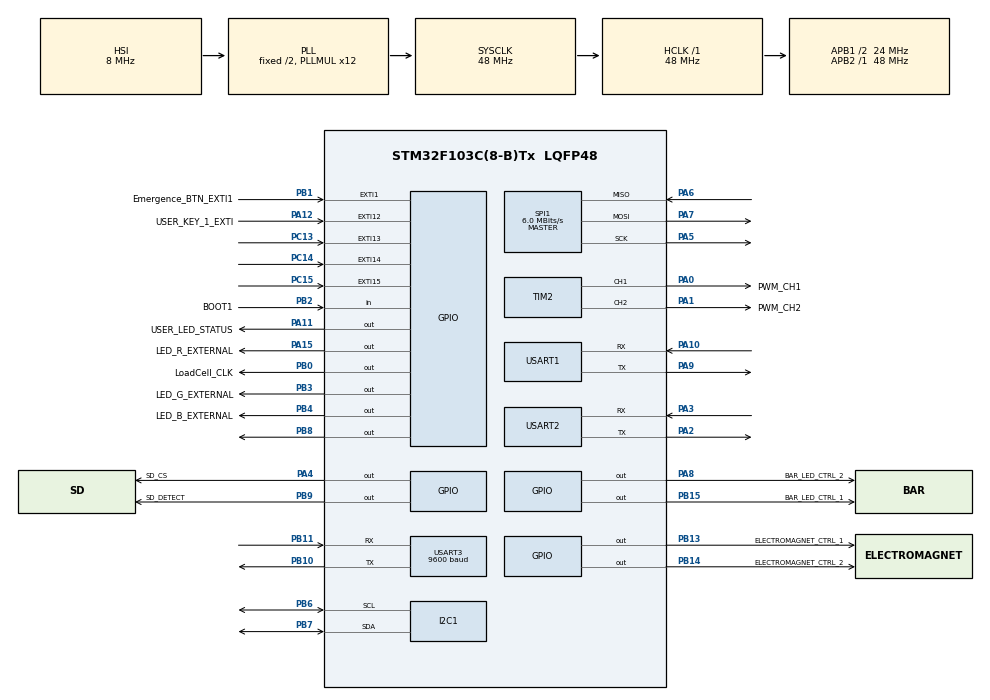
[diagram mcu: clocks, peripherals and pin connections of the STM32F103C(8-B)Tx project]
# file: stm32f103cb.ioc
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Mcu.Family=STM32F1
Mcu.Name=STM32F103C(8-B)Tx
Mcu.Package=LQFP48
NVIC.EXTI15_10_IRQn=true\:0\:0\:false\:true\:true\:5\:true
NVIC.EXTI1_IRQn=true\:0\:0\:false\:true\:true\:1\:true
NVIC.PriorityGroup=NVIC_PRIORITYGROUP_4
NVIC.TIM2_IRQn=true\:0\:0\:false\:true\:true\:2\:true
NVIC.USART1_IRQn=true\:0\:0\:false\:true\:true\:6\:true
NVIC.USART2_IRQn=true\:0\:0\:false\:true\:true\:3\:true
NVIC.USART3_IRQn=true\:0\:0\:false\:true\:true\:4\:true
PA0-WKUP.GPIO_Label=PWM_CH1
PA0-WKUP.Signal=S_TIM2_CH1_ETR
PA1.GPIO_Label=PWM_CH2
PA1.Signal=S_TIM2_CH2
PA10.Mode=Asynchronous
PA10.Signal=USART1_RX
PA11.GPIO_Label=USER_LED_STATUS
PA11.Signal=GPIO_Output
PA12.GPIO_Label=USER_KEY_1_EXTI
PA12.Signal=GPXTI12
PA13.Mode=Serial_Wire
PA13.Signal=SYS_JTMS-SWDIO
PA14.Mode=Serial_Wire
PA14.Signal=SYS_JTCK-SWCLK
PA15.GPIO_Label=LED_R_EXTERNAL
PA15.Signal=GPIO_Output
PA2.Mode=Asynchronous
PA2.Signal=USART2_TX
PA3.Mode=Asynchronous
PA3.Signal=USART2_RX
PA4.GPIO_Label=SD_CS
PA4.Signal=GPIO_Output
PA5.Mode=Full_Duplex_Master
PA5.Signal=SPI1_SCK
PA6.Mode=Full_Duplex_Master
PA6.Signal=SPI1_MISO
PA7.Mode=Full_Duplex_Master
PA7.Signal=SPI1_MOSI
PA8.GPIO_Label=BAR_LED_CTRL_2
PA8.GPIO_PuPd=GPIO_NOPULL
PA8.GPIO_Speed=GPIO_SPEED_FREQ_MEDIUM
PA8.PinState=GPIO_PIN_SET
PA8.Signal=GPIO_Output
PA9.Mode=Asynchronous
PA9.Signal=USART1_TX
PB0.GPIO_Label=LoadCell_CLK
PB0.Signal=GPIO_Output
PB1.GPIO_Label=Emergence_BTN_EXTI1
PB1.Signal=GPXTI1
PB10.Mode=Asynchronous
PB10.Signal=USART3_TX
PB11.Mode=Asynchronous
PB11.Signal=USART3_RX
PB13.GPIO_Label=ELECTROMAGNET_CTRL_1
PB13.Signal=GPIO_Output
PB14.GPIO_Label=ELECTROMAGNET_CTRL_2
PB14.Signal=GPIO_Output
PB15.GPIO_Label=BAR_LED_CTRL_1
PB15.Signal=GPIO_Output
PB2.GPIO_Label=BOOT1
PB2.Signal=GPIO_Input
PB3.GPIO_Label=LED_G_EXTERNAL
PB3.Signal=GPIO_Output
PB4.GPIO_Label=LED_B_EXTERNAL
PB4.Signal=GPIO_Output
PB6.Mode=I2C
PB6.Signal=I2C1_SCL
PB7.Mode=I2C
PB7.Signal=I2C1_SDA
PB8.Signal=GPIO_Output
PB9.GPIO_Label=SD_DETECT
PB9.GPIO_Speed=GPIO_SPEED_FREQ_MEDIUM
PB9.PinState=GPIO_PIN_SET
PB9.Signal=GPIO_Output
PC13-TAMPER-RTC.GPIO_PuPd=GPIO_NOPULL
PC13-TAMPER-RTC.Signal=GPXTI13
PC14-OSC32_IN.Signal=GPXTI14
PC15-OSC32_OUT.Signal=GPXTI15
PD0-OSC_IN.Mode=HSE-External-Oscillator
PD0-OSC_IN.Signal=RCC_OSC_IN
PD1-OSC_OUT.Mode=HSE-External-Oscillator
PD1-OSC_OUT.Signal=RCC_OSC_OUT
ProjectManager.HeapSize=0x200
ProjectManager.StackSize=0x400
ProjectManager.TargetToolchain=SW4STM32
RCC.AHBFreq_Value=48000000
RCC.APB1CLKDivider=RCC_HCLK_DIV2
RCC.APB1Freq_Value=24000000
RCC.APB1TimFreq_Value=48000000
RCC.APB2Freq_Value=48000000
RCC.APB2TimFreq_Value=48000000
RCC.HCLKFreq_Value=48000000
RCC.PLLMUL=RCC_PLL_MUL12
RCC.SYSCLKFreq_VALUE=48000000
RCC.SYSCLKSource=RCC_SYSCLKSOURCE_PLLCLK
RCC.USBFreq_Value=48000000
SH.S_TIM2_CH1_ETR.0=TIM2_CH1,PWM Generation1 CH1
SH.S_TIM2_CH2.0=TIM2_CH2,PWM Generation2 CH2
SPI1.BaudRatePrescaler=SPI_BAUDRATEPRESCALER_8
SPI1.CalculateBaudRate=6.0 MBits/s
SPI1.DataSize=SPI_DATASIZE_8BIT
SPI1.Direction=SPI_DIRECTION_2LINES
SPI1.Mode=SPI_MODE_MASTER
SPI1.VirtualType=VM_MASTER
TIM2.Channel-PWM\ Generation1\ CH1=TIM_CHANNEL_1
TIM2.Channel-PWM\ Generation2\ CH2=TIM_CHANNEL_2
USART1.VirtualMode=VM_ASYNC
USART2.VirtualMode=VM_ASYNC
USART3.BaudRate=9600
USART3.VirtualMode=VM_ASYNC
VP_FATFS_VS_Generic.Mode=User_defined
board=custom

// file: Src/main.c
/**
  ******************************************************************************
  * @file           : main.c
  * @brief          : Main program body
  ******************************************************************************
  * This notice applies to any and all portions of this file
  * that are not between comment pairs USER CODE BEGIN and
  * USER CODE END. Other portions of this file, whether
  * inserted by the user or by software development tools
  * are owned by their respective copyright owners.
  *
  * Copyright (c) 2018 STMicroelectronics International N.V.
  * All rights reserved.
  *
  * Redistribution and use in source and binary forms, with or without
  * modification, are permitted, provided that the following conditions are met:
  *
  * 1. Redistribution of source code must retain the above copyright notice,
  *    this list of conditions and the following disclaimer.
  * 2. Redistributions in binary form must reproduce the above copyright notice,
  *    this list of conditions and the following disclaimer in the documentation
  *    and/or other materials provided with the distribution.
  * 3. Neither the name of STMicroelectronics nor the names of other
  *    contributors to this software may be used to endorse or promote products
  *    derived from this software without specific written permission.
  * 4. This software, including modifications and/or derivative works of this
  *    software, must execute solely and exclusively on microcontroller or
  *    microprocessor devices manufactured by or for STMicroelectronics.
  * 5. Redistribution and use of this software other than as permitted under
  *    this license is void and will automatically terminate your rights under
  *    this license.
  *
  * THIS SOFTWARE IS PROVIDED BY STMICROELECTRONICS AND CONTRIBUTORS "AS IS"
  * AND ANY EXPRESS, IMPLIED OR STATUTORY WARRANTIES, INCLUDING, BUT NOT
  * LIMITED TO, THE IMPLIED WARRANTIES OF MERCHANTABILITY, FITNESS FOR A
  * PARTICULAR PURPOSE AND NON-INFRINGEMENT OF THIRD PARTY INTELLECTUAL PROPERTY
  * RIGHTS ARE DISCLAIMED TO THE FULLEST EXTENT PERMITTED BY LAW. IN NO EVENT
  * SHALL STMICROELECTRONICS OR CONTRIBUTORS BE LIABLE FOR ANY DIRECT, INDIRECT,
  * INCIDENTAL, SPECIAL, EXEMPLARY, OR CONSEQUENTIAL DAMAGES (INCLUDING, BUT NOT
  * LIMITED TO, PROCUREMENT OF SUBSTITUTE GOODS OR SERVICES; LOSS OF USE, DATA,
  * OR PROFITS; OR BUSINESS INTERRUPTION) HOWEVER CAUSED AND ON ANY THEORY OF
  * LIABILITY, WHETHER IN CONTRACT, STRICT LIABILITY, OR TORT (INCLUDING
  * NEGLIGENCE OR OTHERWISE) ARISING IN ANY WAY OUT OF THE USE OF THIS SOFTWARE,
  * EVEN IF ADVISED OF THE POSSIBILITY OF SUCH DAMAGE.
  *
  ******************************************************************************
  */
#include "main.h"
#include "stm32f1xx_hal.h"
#include "fatfs.h"

/* USER CODE BEGIN Includes */
#include <stdlib.h>
#include <string.h>
#include "dev/sensor/hc_06.h"
#include "dev/sensor/esp8266_dev.h"
#include "dev/serial/uart_string.h"

#define ESP8266_TEST_MODE 0
#define HC06_TEST_MODE 0
#define SPI_SD_TEST 1
/* USER CODE END Includes */

I2C_HandleTypeDef hi2c1;

SPI_HandleTypeDef hspi1;

TIM_HandleTypeDef htim2;

UART_HandleTypeDef huart1;
UART_HandleTypeDef huart2;

/* USER CODE BEGIN PV */
/* Private variables ---------------------------------------------------------*/
uint8_t rxbuf_[2];
UartstrQueue uartStrQ_;

#if SPI_SD_TEST
FATFS fs_;
FATFS *pfs_;
FIL fil_;
FRESULT fres_;
DWORD fre_clust_;
uint32_t total_, free_;
char buffer_[100];
#endif  // SPI_SD_TEST

/* USER CODE END PV */

void SystemClock_Config(void);
static void MX_GPIO_Init(void);
static void MX_I2C1_Init(void);
static void MX_TIM2_Init(void);
static void MX_USART1_UART_Init(void);
static void MX_USART2_UART_Init(void);
static void MX_USART3_UART_Init(void);
static void MX_SPI1_Init(void);
static void MX_NVIC_Init(void);

void HAL_TIM_MspPostInit(TIM_HandleTypeDef *htim);

/* USER CODE BEGIN PFP */
/* Private function prototypes -----------------------------------------------*/

/* USER CODE END PFP */

/* USER CODE BEGIN 0 */
int _write(int file, char* data, int len) {
	HAL_StatusTypeDef status =
		HAL_UART_Transmit(&huart1, (uint8_t*)data, len, 1000);
	return (status == HAL_OK ? len : 0);
}

void HAL_UART_RxCpltCallback(UART_HandleTypeDef *huart) {
	//hc06_receive_byte();
  if (huart->Instance == USART1) {
    uartstr_get_byte(&uartStrQ_, rxbuf_[0]);
    HAL_UART_Receive_IT(uartStrQ_.uart, rxbuf_, 1);
  }

}

void USART_Rx_Callback(USART_TypeDef* uart) {
#if HC06_TEST_MODE
  hc06_usart_rx_callback(uart);
#endif

#if ESP8266_TEST_MODE
  esp8266_usart_rx_callback(uart);
#endif
}
/* USER CODE END 0 */

int main(void)
{
  /* USER CODE BEGIN 1 */
  char data[128];

  /* USER CODE END 1 */

  /* MCU Configuration----------------------------------------------------------*/

  /* Reset of all peripherals, Initializes the Flash interface and the Systick. */
  HAL_Init();

  /* Configure the system clock */
  SystemClock_Config();

  /* Initialize all configured peripherals */
  MX_GPIO_Init();
  MX_I2C1_Init();
  MX_TIM2_Init();
  MX_USART1_UART_Init();
  MX_USART2_UART_Init();
  MX_USART3_UART_Init();
  MX_SPI1_Init();
  MX_FATFS_Init();

  /* Initialize interrupts */
  MX_NVIC_Init();
  /* USER CODE BEGIN 2 */
  uartStrQ_.uart = &huart1;
  uartstr_init(&uartStrQ_);
  HAL_UART_Receive_IT(uartStrQ_.uart, rxbuf_, 1);
#if ESP8266_TEST_MODE
  esp8266_init(USART3);
  esp8266_set_ssid("iptime");
  esp8266_set_pwd("");
  esp8266_print_test_menu();
#endif  // ESP8266_TEST_MODE

#if HC06_TEST_MODE
  hc06_init(USART3);
  hc06_set_bluetoothname("kdj6724", 7);
  //hc06_set_pin("1111", 4);
#endif  // HC06_TEST_MODE

#if SPI_SD_TEST
  /* Mount SD Card */
    if(f_mount(&fs_, "", 0) != FR_OK)
      _Error_Handler(__FILE__, __LINE__);

    /* Open file to write */
    if(f_open(&fil_, "first.txt", FA_OPEN_ALWAYS | FA_READ | FA_WRITE) != FR_OK)
      _Error_Handler(__FILE__, __LINE__);

    /* Check free space */
    if(f_getfree("", &fre_clust_, &pfs_) != FR_OK)
      _Error_Handler(__FILE__, __LINE__);

    total_ = (uint32_t)((pfs_->n_fatent - 2) * pfs_->csize * 0.5);
    free_ = (uint32_t)(fre_clust_ * pfs_->csize * 0.5);

    /* Free space is less than 1kb */
    if(free_ < 1)
      _Error_Handler(__FILE__, __LINE__);

    /* Writing text */
    f_puts("kdj6724 sdcard test\n", &fil_);
    f_puts("Save the world!!!\n", &fil_);
    f_puts("Save the world!!!\n", &fil_);
    f_puts("Save the world!!!\n", &fil_);
    f_puts("Save the world!!!\n", &fil_);
    f_puts("Save the world!!!\n", &fil_);
    f_puts("Save the world!!!\n", &fil_);
    f_puts("Save the world!!!\n", &fil_);
    f_puts("Save the world!!!\n", &fil_);

    /* Close file */
    if(f_close(&fil_) != FR_OK)
      _Error_Handler(__FILE__, __LINE__);

    /* Open file to read */
    if(f_open(&fil_, "first.txt", FA_READ) != FR_OK)
      _Error_Handler(__FILE__, __LINE__);

    while(f_gets(buffer_, sizeof(buffer_), &fil_))
    {
      printf("%s\r\n", buffer_);
    }

    /* Close file */
    if(f_close(&fil_) != FR_OK)
      _Error_Handler(__FILE__, __LINE__);

    /* Unmount SDCARD */
    if(f_mount(NULL, "", 1) != FR_OK)
      _Error_Handler(__FILE__, __LINE__);

#endif  // SPI_SD_TEST
  memset(data, 0, sizeof(data));
  /* USER CODE END 2 */

  /* Infinite loop */
  /* USER CODE BEGIN WHILE */

  while (1)
  {
#if ESP8266_TEST_MODE // test esp8266
    if (dequeue(&esp8266MessageQueue_, data) > 0) {
      printf("esp : %s\r\n", data);
      memset(data, 0, sizeof(data));
    }
#endif

#if HC06_TEST_MODE // test esp8266
    if (dequeue(&hc06MessageQueue_, data) > 0) {
      printf("hc06 : %s\r\n", data);
      memset(data, 0, sizeof(data));
    }
#endif

    if (uartstr_receive_string(&uartStrQ_, data, sizeof(data)) > 0) {
      printf("%s - \r\n", data);
      esp8266_select_test_menu(data[0]);
      memset(data, 0, sizeof(data));
      esp8266_print_test_menu();
    }
    HAL_Delay(500);
  /* USER CODE END WHILE */

  }

}

void SystemClock_Config(void)
{

  RCC_OscInitTypeDef RCC_OscInitStruct;
  RCC_ClkInitTypeDef RCC_ClkInitStruct;

    /**Initializes the CPU, AHB and APB busses clocks
    */
  RCC_OscInitStruct.OscillatorType = RCC_OSCILLATORTYPE_HSI;
  RCC_OscInitStruct.HSIState = RCC_HSI_ON;
  RCC_OscInitStruct.HSICalibrationValue = 16;
  RCC_OscInitStruct.PLL.PLLState = RCC_PLL_ON;
  RCC_OscInitStruct.PLL.PLLSource = RCC_PLLSOURCE_HSI_DIV2;
  RCC_OscInitStruct.PLL.PLLMUL = RCC_PLL_MUL12;
  if (HAL_RCC_OscConfig(&RCC_OscInitStruct) != HAL_OK)
  {
    _Error_Handler(__FILE__, __LINE__);
  }

    /**Initializes the CPU, AHB and APB busses clocks
    */
  RCC_ClkInitStruct.ClockType = RCC_CLOCKTYPE_HCLK|RCC_CLOCKTYPE_SYSCLK
                              |RCC_CLOCKTYPE_PCLK1|RCC_CLOCKTYPE_PCLK2;
  RCC_ClkInitStruct.SYSCLKSource = RCC_SYSCLKSOURCE_PLLCLK;
  RCC_ClkInitStruct.AHBCLKDivider = RCC_SYSCLK_DIV1;
  RCC_ClkInitStruct.APB1CLKDivider = RCC_HCLK_DIV2;
  RCC_ClkInitStruct.APB2CLKDivider = RCC_HCLK_DIV1;

  if (HAL_RCC_ClockConfig(&RCC_ClkInitStruct, FLASH_LATENCY_1) != HAL_OK)
  {
    _Error_Handler(__FILE__, __LINE__);
  }

    /**Configure the Systick interrupt time
    */
  HAL_SYSTICK_Config(HAL_RCC_GetHCLKFreq()/1000);

    /**Configure the Systick
    */
  HAL_SYSTICK_CLKSourceConfig(SYSTICK_CLKSOURCE_HCLK);

  /* SysTick_IRQn interrupt configuration */
  HAL_NVIC_SetPriority(SysTick_IRQn, 0, 0);
}

/**
  * @brief NVIC Configuration.
  * @retval None
  */
static void MX_NVIC_Init(void)
{
  /* EXTI1_IRQn interrupt configuration */
  HAL_NVIC_SetPriority(EXTI1_IRQn, 0, 0);
  HAL_NVIC_EnableIRQ(EXTI1_IRQn);
  /* TIM2_IRQn interrupt configuration */
  HAL_NVIC_SetPriority(TIM2_IRQn, 0, 0);
  HAL_NVIC_EnableIRQ(TIM2_IRQn);
  /* USART2_IRQn interrupt configuration */
  HAL_NVIC_SetPriority(USART2_IRQn, 0, 0);
  HAL_NVIC_EnableIRQ(USART2_IRQn);
  /* USART3_IRQn interrupt configuration */
  NVIC_SetPriority(USART3_IRQn, NVIC_EncodePriority(NVIC_GetPriorityGrouping(),0, 0));
  NVIC_EnableIRQ(USART3_IRQn);
  /* EXTI15_10_IRQn interrupt configuration */
  HAL_NVIC_SetPriority(EXTI15_10_IRQn, 0, 0);
  HAL_NVIC_EnableIRQ(EXTI15_10_IRQn);
  /* USART1_IRQn interrupt configuration */
  HAL_NVIC_SetPriority(USART1_IRQn, 0, 0);
  HAL_NVIC_EnableIRQ(USART1_IRQn);
}

/* I2C1 init function */
static void MX_I2C1_Init(void)
{

  hi2c1.Instance = I2C1;
  hi2c1.Init.ClockSpeed = 100000;
  hi2c1.Init.DutyCycle = I2C_DUTYCYCLE_2;
  hi2c1.Init.OwnAddress1 = 0;
  hi2c1.Init.AddressingMode = I2C_ADDRESSINGMODE_7BIT;
  hi2c1.Init.DualAddressMode = I2C_DUALADDRESS_DISABLE;
  hi2c1.Init.OwnAddress2 = 0;
  hi2c1.Init.GeneralCallMode = I2C_GENERALCALL_DISABLE;
  hi2c1.Init.NoStretchMode = I2C_NOSTRETCH_DISABLE;
  if (HAL_I2C_Init(&hi2c1) != HAL_OK)
  {
    _Error_Handler(__FILE__, __LINE__);
  }

}

/* SPI1 init function */
static void MX_SPI1_Init(void)
{

  /* SPI1 parameter configuration*/
  hspi1.Instance = SPI1;
  hspi1.Init.Mode = SPI_MODE_MASTER;
  hspi1.Init.Direction = SPI_DIRECTION_2LINES;
  hspi1.Init.DataSize = SPI_DATASIZE_8BIT;
  hspi1.Init.CLKPolarity = SPI_POLARITY_LOW;
  hspi1.Init.CLKPhase = SPI_PHASE_1EDGE;
  hspi1.Init.NSS = SPI_NSS_SOFT;
  hspi1.Init.BaudRatePrescaler = SPI_BAUDRATEPRESCALER_8;
  hspi1.Init.FirstBit = SPI_FIRSTBIT_MSB;
  hspi1.Init.TIMode = SPI_TIMODE_DISABLE;
  hspi1.Init.CRCCalculation = SPI_CRCCALCULATION_DISABLE;
  hspi1.Init.CRCPolynomial = 10;
  if (HAL_SPI_Init(&hspi1) != HAL_OK)
  {
    _Error_Handler(__FILE__, __LINE__);
  }

}

/* TIM2 init function */
static void MX_TIM2_Init(void)
{

  TIM_MasterConfigTypeDef sMasterConfig;
  TIM_OC_InitTypeDef sConfigOC;

  htim2.Instance = TIM2;
  htim2.Init.Prescaler = 0;
  htim2.Init.CounterMode = TIM_COUNTERMODE_UP;
  htim2.Init.Period = 0;
  htim2.Init.ClockDivision = TIM_CLOCKDIVISION_DIV1;
  htim2.Init.AutoReloadPreload = TIM_AUTORELOAD_PRELOAD_DISABLE;
  if (HAL_TIM_PWM_Init(&htim2) != HAL_OK)
  {
    _Error_Handler(__FILE__, __LINE__);
  }

  sMasterConfig.MasterOutputTrigger = TIM_TRGO_RESET;
  sMasterConfig.MasterSlaveMode = TIM_MASTERSLAVEMODE_DISABLE;
  if (HAL_TIMEx_MasterConfigSynchronization(&htim2, &sMasterConfig) != HAL_OK)
  {
    _Error_Handler(__FILE__, __LINE__);
  }

  sConfigOC.OCMode = TIM_OCMODE_PWM1;
  sConfigOC.Pulse = 0;
  sConfigOC.OCPolarity = TIM_OCPOLARITY_HIGH;
  sConfigOC.OCFastMode = TIM_OCFAST_DISABLE;
  if (HAL_TIM_PWM_ConfigChannel(&htim2, &sConfigOC, TIM_CHANNEL_1) != HAL_OK)
  {
    _Error_Handler(__FILE__, __LINE__);
  }

  if (HAL_TIM_PWM_ConfigChannel(&htim2, &sConfigOC, TIM_CHANNEL_2) != HAL_OK)
  {
    _Error_Handler(__FILE__, __LINE__);
  }

  HAL_TIM_MspPostInit(&htim2);

}

/* USART1 init function */
static void MX_USART1_UART_Init(void)
{

  huart1.Instance = USART1;
  huart1.Init.BaudRate = 115200;
  huart1.Init.WordLength = UART_WORDLENGTH_8B;
  huart1.Init.StopBits = UART_STOPBITS_1;
  huart1.Init.Parity = UART_PARITY_NONE;
  huart1.Init.Mode = UART_MODE_TX_RX;
  huart1.Init.HwFlowCtl = UART_HWCONTROL_NONE;
  huart1.Init.OverSampling = UART_OVERSAMPLING_16;
  if (HAL_UART_Init(&huart1) != HAL_OK)
  {
    _Error_Handler(__FILE__, __LINE__);
  }

}

/* USART2 init function */
static void MX_USART2_UART_Init(void)
{

  huart2.Instance = USART2;
  huart2.Init.BaudRate = 115200;
  huart2.Init.WordLength = UART_WORDLENGTH_8B;
  huart2.Init.StopBits = UART_STOPBITS_1;
  huart2.Init.Parity = UART_PARITY_NONE;
  huart2.Init.Mode = UART_MODE_TX_RX;
  huart2.Init.HwFlowCtl = UART_HWCONTROL_NONE;
  huart2.Init.OverSampling = UART_OVERSAMPLING_16;
  if (HAL_UART_Init(&huart2) != HAL_OK)
  {
    _Error_Handler(__FILE__, __LINE__);
  }

}

/* USART3 init function */
static void MX_USART3_UART_Init(void)
{

  LL_USART_InitTypeDef USART_InitStruct;

  LL_GPIO_InitTypeDef GPIO_InitStruct;

  /* Peripheral clock enable */
  LL_APB1_GRP1_EnableClock(LL_APB1_GRP1_PERIPH_USART3);

  /**USART3 GPIO Configuration
  PB10   ------> USART3_TX
  PB11   ------> USART3_RX
  */
  GPIO_InitStruct.Pin = LL_GPIO_PIN_10;
  GPIO_InitStruct.Mode = LL_GPIO_MODE_ALTERNATE;
  GPIO_InitStruct.Speed = LL_GPIO_SPEED_FREQ_HIGH;
  GPIO_InitStruct.OutputType = LL_GPIO_OUTPUT_PUSHPULL;
  LL_GPIO_Init(GPIOB, &GPIO_InitStruct);

  GPIO_InitStruct.Pin = LL_GPIO_PIN_11;
  GPIO_InitStruct.Mode = LL_GPIO_MODE_FLOATING;
  LL_GPIO_Init(GPIOB, &GPIO_InitStruct);

  USART_InitStruct.BaudRate = 9600;
  USART_InitStruct.DataWidth = LL_USART_DATAWIDTH_8B;
  USART_InitStruct.StopBits = LL_USART_STOPBITS_1;
  USART_InitStruct.Parity = LL_USART_PARITY_NONE;
  USART_InitStruct.TransferDirection = LL_USART_DIRECTION_TX_RX;
  USART_InitStruct.HardwareFlowControl = LL_USART_HWCONTROL_NONE;
  LL_USART_Init(USART3, &USART_InitStruct);

  LL_USART_ConfigAsyncMode(USART3);

  LL_USART_Enable(USART3);

}

/** Configure pins as
        * Analog
        * Input
        * Output
        * EVENT_OUT
        * EXTI
*/
static void MX_GPIO_Init(void)
{

  GPIO_InitTypeDef GPIO_InitStruct;

  /* GPIO Ports Clock Enable */
  __HAL_RCC_GPIOC_CLK_ENABLE();
  __HAL_RCC_GPIOD_CLK_ENABLE();
  __HAL_RCC_GPIOA_CLK_ENABLE();
  __HAL_RCC_GPIOB_CLK_ENABLE();

  /*Configure GPIO pin Output Level */
  HAL_GPIO_WritePin(GPIOA, SD_CS_Pin|USER_LED_STATUS_Pin|LED_R_EXTERNAL_Pin, GPIO_PIN_RESET);

  /*Configure GPIO pin Output Level */
  HAL_GPIO_WritePin(GPIOB, LoadCell_CLK_Pin|ELECTROMAGNET_CTRL_1_Pin|ELECTROMAGNET_CTRL_2_Pin|BAR_LED_CTRL_1_Pin
                          |LED_G_EXTERNAL_Pin|LED_B_EXTERNAL_Pin|GPIO_PIN_8, GPIO_PIN_RESET);

  /*Configure GPIO pin Output Level */
  HAL_GPIO_WritePin(BAR_LED_CTRL_2_GPIO_Port, BAR_LED_CTRL_2_Pin, GPIO_PIN_SET);

  /*Configure GPIO pin Output Level */
  HAL_GPIO_WritePin(SD_DETECT_GPIO_Port, SD_DETECT_Pin, GPIO_PIN_SET);

  /*Configure GPIO pins : PC13 PC14 PC15 */
  GPIO_InitStruct.Pin = GPIO_PIN_13|GPIO_PIN_14|GPIO_PIN_15;
  GPIO_InitStruct.Mode = GPIO_MODE_IT_RISING;
  GPIO_InitStruct.Pull = GPIO_NOPULL;
  HAL_GPIO_Init(GPIOC, &GPIO_InitStruct);

  /*Configure GPIO pins : SD_CS_Pin USER_LED_STATUS_Pin LED_R_EXTERNAL_Pin */
  GPIO_InitStruct.Pin = SD_CS_Pin|USER_LED_STATUS_Pin|LED_R_EXTERNAL_Pin;
  GPIO_InitStruct.Mode = GPIO_MODE_OUTPUT_PP;
  GPIO_InitStruct.Pull = GPIO_NOPULL;
  GPIO_InitStruct.Speed = GPIO_SPEED_FREQ_LOW;
  HAL_GPIO_Init(GPIOA, &GPIO_InitStruct);

  /*Configure GPIO pins : LoadCell_CLK_Pin ELECTROMAGNET_CTRL_1_Pin ELECTROMAGNET_CTRL_2_Pin BAR_LED_CTRL_1_Pin
                           LED_G_EXTERNAL_Pin LED_B_EXTERNAL_Pin PB8 */
  GPIO_InitStruct.Pin = LoadCell_CLK_Pin|ELECTROMAGNET_CTRL_1_Pin|ELECTROMAGNET_CTRL_2_Pin|BAR_LED_CTRL_1_Pin
                          |LED_G_EXTERNAL_Pin|LED_B_EXTERNAL_Pin|GPIO_PIN_8;
  GPIO_InitStruct.Mode = GPIO_MODE_OUTPUT_PP;
  GPIO_InitStruct.Pull = GPIO_NOPULL;
  GPIO_InitStruct.Speed = GPIO_SPEED_FREQ_LOW;
  HAL_GPIO_Init(GPIOB, &GPIO_InitStruct);

  /*Configure GPIO pin : Emergence_BTN_EXTI1_Pin */
  GPIO_InitStruct.Pin = Emergence_BTN_EXTI1_Pin;
  GPIO_InitStruct.Mode = GPIO_MODE_IT_RISING;
  GPIO_InitStruct.Pull = GPIO_NOPULL;
  HAL_GPIO_Init(Emergence_BTN_EXTI1_GPIO_Port, &GPIO_InitStruct);

  /*Configure GPIO pin : BOOT1_Pin */
  GPIO_InitStruct.Pin = BOOT1_Pin;
  GPIO_InitStruct.Mode = GPIO_MODE_INPUT;
  GPIO_InitStruct.Pull = GPIO_NOPULL;
  HAL_GPIO_Init(BOOT1_GPIO_Port, &GPIO_InitStruct);

  /*Configure GPIO pin : BAR_LED_CTRL_2_Pin */
  GPIO_InitStruct.Pin = BAR_LED_CTRL_2_Pin;
  GPIO_InitStruct.Mode = GPIO_MODE_OUTPUT_PP;
  GPIO_InitStruct.Pull = GPIO_NOPULL;
  GPIO_InitStruct.Speed = GPIO_SPEED_FREQ_MEDIUM;
  HAL_GPIO_Init(BAR_LED_CTRL_2_GPIO_Port, &GPIO_InitStruct);

  /*Configure GPIO pin : USER_KEY_1_EXTI_Pin */
  GPIO_InitStruct.Pin = USER_KEY_1_EXTI_Pin;
  GPIO_InitStruct.Mode = GPIO_MODE_IT_RISING;
  GPIO_InitStruct.Pull = GPIO_NOPULL;
  HAL_GPIO_Init(USER_KEY_1_EXTI_GPIO_Port, &GPIO_InitStruct);

  /*Configure GPIO pin : SD_DETECT_Pin */
  GPIO_InitStruct.Pin = SD_DETECT_Pin;
  GPIO_InitStruct.Mode = GPIO_MODE_OUTPUT_PP;
  GPIO_InitStruct.Pull = GPIO_NOPULL;
  GPIO_InitStruct.Speed = GPIO_SPEED_FREQ_MEDIUM;
  HAL_GPIO_Init(SD_DETECT_GPIO_Port, &GPIO_InitStruct);

}

void _Error_Handler(char *file, int line)
{
  while(1)
  {
  }
}

/************************ (C) COPYRIGHT STMicroelectronics *****END OF FILE****/
